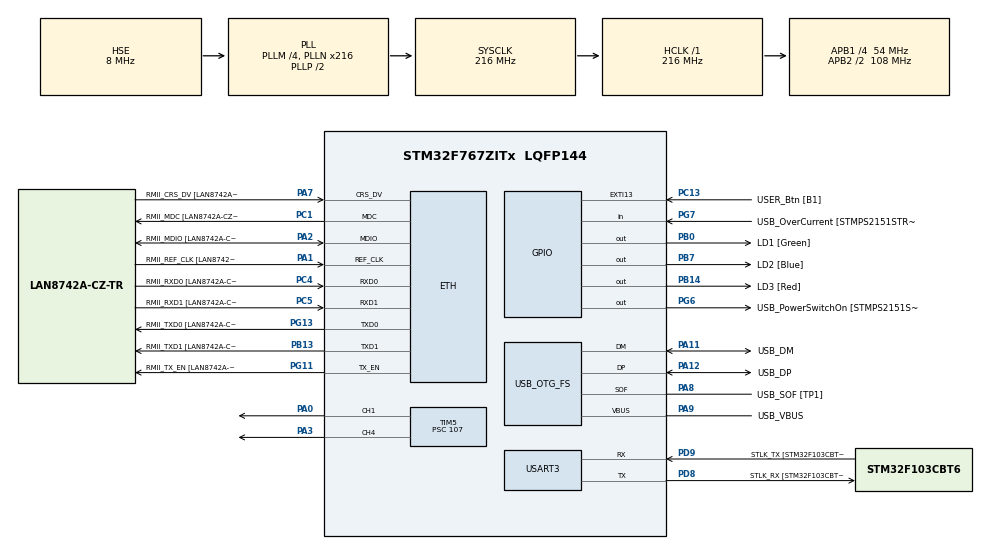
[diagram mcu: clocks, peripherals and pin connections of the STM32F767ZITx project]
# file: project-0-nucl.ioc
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ETH.MediaInterface=HAL_ETH_RMII_MODE
ETH.PHY_Name=LAN8742A_PHY_ADDRESS
ETH.PHY_Value=0
ETH.PhyAddress=0
Mcu.Family=STM32F7
Mcu.Name=STM32F767ZITx
Mcu.Package=LQFP144
NVIC.PriorityGroup=NVIC_PRIORITYGROUP_4
NVIC.USART3_IRQn=true\:0\:0\:false\:false\:true\:true\:true\:true
PA0/WKUP.Signal=S_TIM5_CH1
PA1.GPIO_Label=RMII_REF_CLK [LAN8742A-CZ-TR_REFCLK0]
PA1.Mode=RMII
PA1.Signal=ETH_REF_CLK
PA10.GPIO_Label=USB_ID
PA10.Signal=USB_OTG_FS_ID
PA11.GPIO_Label=USB_DM
PA11.Mode=Device_Only
PA11.Signal=USB_OTG_FS_DM
PA12.GPIO_Label=USB_DP
PA12.Mode=Device_Only
PA12.Signal=USB_OTG_FS_DP
PA13.GPIO_Label=TMS
PA13.Mode=Serial_Wire
PA13.Signal=SYS_JTMS-SWDIO
PA14.GPIO_Label=TCK
PA14.Mode=Serial_Wire
PA14.Signal=SYS_JTCK-SWCLK
PA2.GPIO_Label=RMII_MDIO [LAN8742A-CZ-TR_MDIO]
PA2.Mode=RMII
PA2.Signal=ETH_MDIO
PA3.Signal=S_TIM5_CH4
PA7.GPIO_Label=RMII_CRS_DV [LAN8742A-CZ-TR_CRS_DV]
PA7.Mode=RMII
PA7.Signal=ETH_CRS_DV
PA8.GPIO_Label=USB_SOF [TP1]
PA8.Mode=Activate_SOF_FS
PA8.Signal=USB_OTG_FS_SOF
PA9.GPIO_Label=USB_VBUS
PA9.Mode=Activate_VBUS
PA9.Signal=USB_OTG_FS_VBUS
PB0.GPIO_Label=LD1 [Green]
PB0.Signal=GPIO_Output
PB13.GPIO_Label=RMII_TXD1 [LAN8742A-CZ-TR_TXD1]
PB13.Mode=RMII
PB13.Signal=ETH_TXD1
PB14.GPIO_Label=LD3 [Red]
PB14.Signal=GPIO_Output
PB3.GPIO_Label=SWO
PB3.Signal=SYS_JTDO-SWO
PB7.GPIO_Label=LD2 [Blue]
PB7.Signal=GPIO_Output
PC1.GPIO_Label=RMII_MDC [LAN8742A-CZ-TR_MDC]
PC1.Mode=RMII
PC1.Signal=ETH_MDC
PC13.GPIO_Label=USER_Btn [B1]
PC13.Signal=GPXTI13
PC14/OSC32_IN.Mode=LSE-External-Oscillator
PC14/OSC32_IN.Signal=RCC_OSC32_IN
PC15/OSC32_OUT.Mode=LSE-External-Oscillator
PC15/OSC32_OUT.Signal=RCC_OSC32_OUT
PC4.GPIO_Label=RMII_RXD0 [LAN8742A-CZ-TR_RXD0]
PC4.Mode=RMII
PC4.Signal=ETH_RXD0
PC5.GPIO_Label=RMII_RXD1 [LAN8742A-CZ-TR_RXD1]
PC5.Mode=RMII
PC5.Signal=ETH_RXD1
PD12.Signal=S_TIM4_CH1
PD8.GPIO_Label=STLK_RX [STM32F103CBT6_PA3]
PD8.Mode=Asynchronous
PD8.Signal=USART3_TX
PD9.GPIO_Label=STLK_TX [STM32F103CBT6_PA2]
PD9.Mode=Asynchronous
PD9.Signal=USART3_RX
PG11.GPIO_Label=RMII_TX_EN [LAN8742A-CZ-TR_TXEN]
PG11.Mode=RMII
PG11.Signal=ETH_TX_EN
PG13.GPIO_Label=RMII_TXD0 [LAN8742A-CZ-TR_TXD0]
PG13.Mode=RMII
PG13.Signal=ETH_TXD0
PG6.GPIO_Label=USB_PowerSwitchOn [STMPS2151STR_EN]
PG6.Signal=GPIO_Output
PG7.GPIO_Label=USB_OverCurrent [STMPS2151STR_FAULT]
PG7.Signal=GPIO_Input
PH0/OSC_IN.GPIO_Label=MCO [STM32F103CBT6_PA8]
PH0/OSC_IN.Mode=HSE-External-Clock-Source
PH0/OSC_IN.Signal=RCC_OSC_IN
PH1/OSC_OUT.Mode=HSE-External-Clock-Source
PH1/OSC_OUT.Signal=RCC_OSC_OUT
ProjectManager.HeapSize=0x200
ProjectManager.StackSize=0x400
ProjectManager.TargetToolchain=STM32CubeIDE
RCC.48MHZClocksFreq_Value=24000000
RCC.AHBFreq_Value=216000000
RCC.APB1CLKDivider=RCC_HCLK_DIV4
RCC.APB1Freq_Value=54000000
RCC.APB1TimFreq_Value=108000000
RCC.APB2CLKDivider=RCC_HCLK_DIV2
RCC.APB2Freq_Value=108000000
RCC.APB2TimFreq_Value=216000000
RCC.CortexFreq_Value=216000000
RCC.HCLKFreq_Value=216000000
RCC.HSE_VALUE=8000000
RCC.HSI_VALUE=16000000
RCC.PLLM=4
RCC.PLLMUL=RCC_PLL_MUL9
RCC.PLLN=216
RCC.PLLQ=9
RCC.PRESCALERUSB=RCC_USBCLKSOURCE_PLL_DIV1_5
RCC.SYSCLKFreq_VALUE=216000000
RCC.SYSCLKSource=RCC_SYSCLKSOURCE_PLLCLK
RCC.SYSCLKSourceVirtual=RCC_SYSCLKSOURCE_PLLCLK
RCC.USBFreq_Value=48000000
RCC.VCOOutputFreq_Value=432000000
SH.S_TIM4_CH1.0=TIM4_CH1
SH.S_TIM5_CH1.0=TIM5_CH1,PWM Generation1 CH1
SH.S_TIM5_CH4.0=TIM5_CH4,PWM Generation4 CH4
TIM5.Channel-PWM\ Generation1\ CH1=TIM_CHANNEL_1
TIM5.Channel-PWM\ Generation4\ CH4=TIM_CHANNEL_4
TIM5.Period=19999
TIM5.Prescaler=107
TIM5.Pulse-PWM\ Generation1\ CH1=1500
TIM5.Pulse-PWM\ Generation4\ CH4=1500
USART3.VirtualMode-Asynchronous=VM_ASYNC
USB_OTG_FS.VirtualMode=Device_Only
VP_TIM5_VS_ClockSourceINT.Mode=Internal
board=NUCLEO-F767ZI

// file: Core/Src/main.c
/* USER CODE BEGIN Header */
/**
  ******************************************************************************
  * @file           : main.c
  * @brief          : Main program body
  ******************************************************************************
  * @attention
  *
  * This program is designed to receive individual servo commands over UART
  * in the format "s<ID><angle>\n", for example, "s090\n" or "s1125\n".
  * It maps the angle (0-180 degrees) to a PWM pulse width for servo control.
  *
  ******************************************************************************
  */
/* USER CODE END Header */
#include "main.h"
#include "string.h"

/* USER CODE BEGIN Includes */
#include <stdio.h>
#include <stdbool.h>
#include <stdlib.h> // <-- NEW: Include for atoi()
/* USER CODE END Includes */

/* USER CODE BEGIN PD */
#define SERVO_MAX_PULSE 2500
#define SERVO_MIN_PULSE 500
#define RX_BUFFER_SIZE 32 // Can be smaller for these short commands

// <-- NEW: Define Servo IDs for clarity
#define SERVO_PAN_ID 0
#define SERVO_TILT_ID 1

// <-- NEW: Define valid angle range from the Python script
#define ANGLE_MIN 0
#define ANGLE_MAX 180
/* USER CODE END PD */

#if defined ( __ICCARM__ ) /*!< IAR Compiler */
#pragma location=0x2007c000
ETH_DMADescTypeDef  DMARxDscrTab[ETH_RX_DESC_CNT]; /* Ethernet Rx DMA Descriptors */
#pragma location=0x2007c0a0
ETH_DMADescTypeDef  DMATxDscrTab[ETH_TX_DESC_CNT]; /* Ethernet Tx DMA Descriptors */

#elif defined ( __CC_ARM )  /* MDK ARM Compiler */

__attribute__((at(0x2007c000))) ETH_DMADescTypeDef  DMARxDscrTab[ETH_RX_DESC_CNT]; /* Ethernet Rx DMA Descriptors */
__attribute__((at(0x2007c0a0))) ETH_DMADescTypeDef  DMATxDscrTab[ETH_TX_DESC_CNT]; /* Ethernet Tx DMA Descriptors */

#elif defined ( __GNUC__ ) /* GNU Compiler */

ETH_DMADescTypeDef DMARxDscrTab[ETH_RX_DESC_CNT] __attribute__((section(".RxDecripSection"))); /* Ethernet Rx DMA Descriptors */
ETH_DMADescTypeDef DMATxDscrTab[ETH_TX_DESC_CNT] __attribute__((section(".TxDecripSection")));   /* Ethernet Tx DMA Descriptors */
#endif

ETH_TxPacketConfig TxConfig;
ETH_HandleTypeDef heth;
TIM_HandleTypeDef htim5;
UART_HandleTypeDef huart3;
PCD_HandleTypeDef hpcd_USB_OTG_FS;

/* USER CODE BEGIN PV */
uint8_t rx_buffer[RX_BUFFER_SIZE];
uint8_t rx_char[1];

volatile uint8_t rx_index = 0;
volatile bool command_ready = false;
/* USER CODE END PV */

void SystemClock_Config(void);
static void MX_GPIO_Init(void);
static void MX_ETH_Init(void);
static void MX_USART3_UART_Init(void);
static void MX_USB_OTG_FS_PCD_Init(void);
static void MX_TIM5_Init(void);

/* USER CODE BEGIN 0 */

// ====================================================================
// <-- CHANGED: This function now maps an angle (0-180) to a pulse width.
// ====================================================================
uint16_t map_angle_to_pulse(int angle) {
    // Ensure the angle is within the valid hardware range
    if (angle < ANGLE_MIN) angle = ANGLE_MIN;
    if (angle > ANGLE_MAX) angle = ANGLE_MAX;

    // Linearly map the angle (0-180) to the pulse width (e.g., 500-2500)
    return (uint16_t)(SERVO_MIN_PULSE + (double)angle / ANGLE_MAX * (SERVO_MAX_PULSE - SERVO_MIN_PULSE));
}

// ====================================================================
// <-- NEW: This is the new, robust parsing function for single servo commands.
// ====================================================================
bool parse_servo_command(const char *command, int *servo_id, int *angle) {
    // Expected format: "s<ID><ANGLE>", e.g., "s090" or "s1120"
    if (command[0] != 's' || strlen(command) < 3) {
        return false; // Not a valid servo command
    }

    // The servo ID is the single character right after 's'
    *servo_id = command[1] - '0'; // Convert char '0'/'1' to int 0/1

    // The angle is the rest of the string. atoi() handles conversion.
    // &command[2] creates a pointer to the start of the angle digits.
    *angle = atoi(&command[2]);

    // Validate the parsed servo ID
    if (*servo_id != SERVO_PAN_ID && *servo_id != SERVO_TILT_ID) {
        return false;
    }

    // Validate the parsed angle
    if (*angle < ANGLE_MIN || *angle > ANGLE_MAX) {
         return false;
    }

    return true; // Success!
}

// This interrupt handler is unchanged and works perfectly for assembling command strings.
void HAL_UART_RxCpltCallback(UART_HandleTypeDef *huart) {
	if (huart->Instance == USART3) {
		if (rx_char[0] == '\n') { // Only trigger on newline
			rx_buffer[rx_index] = '\0'; // Null-terminate the string
			command_ready = true;
			rx_index = 0;
		} else if (rx_index < RX_BUFFER_SIZE - 1 && rx_char[0] != '\r') {
			rx_buffer[rx_index++] = rx_char[0];
		}
		// Re-arm the interrupt
		HAL_UART_Receive_IT(&huart3, rx_char, 1);
	}
}
/* USER CODE END 0 */

int main(void)
{

  /* MCU Configuration--------------------------------------------------------*/
  HAL_Init();
  SystemClock_Config();

  /* Initialize all configured peripherals */
  MX_GPIO_Init();
  MX_ETH_Init();
  MX_USART3_UART_Init();
  MX_USB_OTG_FS_PCD_Init();
  MX_TIM5_Init();
  /* USER CODE BEGIN 2 */
  HAL_TIM_PWM_Start(&htim5, TIM_CHANNEL_1);
  HAL_TIM_PWM_Start(&htim5, TIM_CHANNEL_4);
  HAL_UART_Receive_IT(&huart3, rx_char, 1);

  // <-- CHANGED: Updated startup message for the new command format.
  char* startup_msg = "Servo Controller Ready. Format: s<ID><angle>\\n (e.g., s090\\n)\r\n";
  HAL_UART_Transmit(&huart3, (uint8_t*)startup_msg, strlen(startup_msg), HAL_MAX_DELAY);

  /* USER CODE END 2 */

  /* Infinite loop */
  while (1)
  {

    /* USER CODE BEGIN 3 */

    // ====================================================================
    // <-- CHANGED: The main loop logic is updated to use the new parser.
    // ====================================================================
	if (command_ready) {
		int servo_id, angle;

		if(parse_servo_command((const char*)rx_buffer, &servo_id, &angle)) {
		  // Command was valid
		  uint16_t pulse = map_angle_to_pulse(angle);

		  // IMPORTANT: Set the correct timer channel based on the servo ID.
		  // Assuming TIM_CH1 is TILT (ID 1) and TIM_CH4 is PAN (ID 0).
		  // Swap these if your axes are wired differently.
		  if (servo_id == SERVO_PAN_ID) {
			  __HAL_TIM_SET_COMPARE(&htim5, TIM_CHANNEL_4, pulse);
		  } else if (servo_id == SERVO_TILT_ID) {
			  __HAL_TIM_SET_COMPARE(&htim5, TIM_CHANNEL_1, pulse);
		  }

		  // Send a detailed confirmation message (very useful for debugging)
		  char ok_msg[64];
		  sprintf(ok_msg, "OK: Servo %d set to angle %d (pulse %u)\r\n", servo_id, angle, pulse);
          HAL_UART_Transmit(&huart3, (uint8_t*)ok_msg, strlen(ok_msg), 100);

		} else {
		  // Command was invalid. Send a specific error message.
		  char err_msg[64];
		  sprintf(err_msg, "Error: Invalid command '%s'\r\n", (const char*)rx_buffer);
		  HAL_UART_Transmit(&huart3, (uint8_t*)err_msg, strlen(err_msg), 100);
		}
		// Reset the flag to wait for the next command
		command_ready = false;
	}
  }
  /* USER CODE END 3 */
}

// ... The rest of your file (SystemClock_Config, peripheral initializations, etc.) is unchanged ...

// ... The rest of your file (SystemClock_Config, peripheral initializations, etc.) is unchanged ...
// ... and can remain exactly as it was.                                                ...

void SystemClock_Config(void)
{
  RCC_OscInitTypeDef RCC_OscInitStruct = {0};
  RCC_ClkInitTypeDef RCC_ClkInitStruct = {0};

  /** Configure LSE Drive Capability
  */
  HAL_PWR_EnableBkUpAccess();

  /** Configure the main internal regulator output voltage
  */
  __HAL_RCC_PWR_CLK_ENABLE();
  __HAL_PWR_VOLTAGESCALING_CONFIG(PWR_REGULATOR_VOLTAGE_SCALE1);

  /** Initializes the RCC Oscillators according to the specified parameters
  * in the RCC_OscInitTypeDef structure.
  */
  RCC_OscInitStruct.OscillatorType = RCC_OSCILLATORTYPE_HSE;
  RCC_OscInitStruct.HSEState = RCC_HSE_BYPASS;
  RCC_OscInitStruct.PLL.PLLState = RCC_PLL_ON;
  RCC_OscInitStruct.PLL.PLLSource = RCC_PLLSOURCE_HSE;
  RCC_OscInitStruct.PLL.PLLM = 4;
  RCC_OscInitStruct.PLL.PLLN = 216;
  RCC_OscInitStruct.PLL.PLLP = RCC_PLLP_DIV2;
  RCC_OscInitStruct.PLL.PLLQ = 9;
  RCC_OscInitStruct.PLL.PLLR = 2;
  if (HAL_RCC_OscConfig(&RCC_OscInitStruct) != HAL_OK)
  {
    Error_Handler();
  }

  /** Activate the Over-Drive mode
  */
  if (HAL_PWREx_EnableOverDrive() != HAL_OK)
  {
    Error_Handler();
  }

  /** Initializes the CPU, AHB and APB buses clocks
  */
  RCC_ClkInitStruct.ClockType = RCC_CLOCKTYPE_HCLK|RCC_CLOCKTYPE_SYSCLK
                              |RCC_CLOCKTYPE_PCLK1|RCC_CLOCKTYPE_PCLK2;
  RCC_ClkInitStruct.SYSCLKSource = RCC_SYSCLKSOURCE_PLLCLK;
  RCC_ClkInitStruct.AHBCLKDivider = RCC_SYSCLK_DIV1;
  RCC_ClkInitStruct.APB1CLKDivider = RCC_HCLK_DIV4;
  RCC_ClkInitStruct.APB2CLKDivider = RCC_HCLK_DIV2;

  if (HAL_RCC_ClockConfig(&RCC_ClkInitStruct, FLASH_LATENCY_7) != HAL_OK)
  {
    Error_Handler();
  }
}

static void MX_ETH_Init(void)
{

   static uint8_t MACAddr[6];

  heth.Instance = ETH;
  MACAddr[0] = 0x00;
  MACAddr[1] = 0x80;
  MACAddr[2] = 0xE1;
  MACAddr[3] = 0x00;
  MACAddr[4] = 0x00;
  MACAddr[5] = 0x00;
  heth.Init.MACAddr = &MACAddr[0];
  heth.Init.MediaInterface = HAL_ETH_RMII_MODE;
  heth.Init.TxDesc = DMATxDscrTab;
  heth.Init.RxDesc = DMARxDscrTab;
  heth.Init.RxBuffLen = 1524;

  if (HAL_ETH_Init(&heth) != HAL_OK)
  {
    Error_Handler();
  }

  memset(&TxConfig, 0 , sizeof(ETH_TxPacketConfig));
  TxConfig.Attributes = ETH_TX_PACKETS_FEATURES_CSUM | ETH_TX_PACKETS_FEATURES_CRCPAD;
  TxConfig.ChecksumCtrl = ETH_CHECKSUM_IPHDR_PAYLOAD_INSERT_PHDR_CALC;
  TxConfig.CRCPadCtrl = ETH_CRC_PAD_INSERT;

}

static void MX_TIM5_Init(void)
{

  TIM_ClockConfigTypeDef sClockSourceConfig = {0};
  TIM_MasterConfigTypeDef sMasterConfig = {0};
  TIM_OC_InitTypeDef sConfigOC = {0};

  htim5.Instance = TIM5;
  htim5.Init.Prescaler = 107;
  htim5.Init.CounterMode = TIM_COUNTERMODE_UP;
  htim5.Init.Period = 19999;
  htim5.Init.ClockDivision = TIM_CLOCKDIVISION_DIV1;
  htim5.Init.AutoReloadPreload = TIM_AUTORELOAD_PRELOAD_DISABLE;
  if (HAL_TIM_Base_Init(&htim5) != HAL_OK)
  {
    Error_Handler();
  }
  sClockSourceConfig.ClockSource = TIM_CLOCKSOURCE_INTERNAL;
  if (HAL_TIM_ConfigClockSource(&htim5, &sClockSourceConfig) != HAL_OK)
  {
    Error_Handler();
  }
  if (HAL_TIM_PWM_Init(&htim5) != HAL_OK)
  {
    Error_Handler();
  }
  sMasterConfig.MasterOutputTrigger = TIM_TRGO_RESET;
  sMasterConfig.MasterSlaveMode = TIM_MASTERSLAVEMODE_DISABLE;
  if (HAL_TIMEx_MasterConfigSynchronization(&htim5, &sMasterConfig) != HAL_OK)
  {
    Error_Handler();
  }
  sConfigOC.OCMode = TIM_OCMODE_PWM1;
  sConfigOC.Pulse = 1500;
  sConfigOC.OCPolarity = TIM_OCPOLARITY_HIGH;
  sConfigOC.OCFastMode = TIM_OCFAST_DISABLE;
  if (HAL_TIM_PWM_ConfigChannel(&htim5, &sConfigOC, TIM_CHANNEL_1) != HAL_OK)
  {
    Error_Handler();
  }
  if (HAL_TIM_PWM_ConfigChannel(&htim5, &sConfigOC, TIM_CHANNEL_4) != HAL_OK)
  {
    Error_Handler();
  }
  HAL_TIM_MspPostInit(&htim5);

}

static void MX_USART3_UART_Init(void)
{

  huart3.Instance = USART3;
  huart3.Init.BaudRate = 115200;
  huart3.Init.WordLength = UART_WORDLENGTH_8B;
  huart3.Init.StopBits = UART_STOPBITS_1;
  huart3.Init.Parity = UART_PARITY_NONE;
  huart3.Init.Mode = UART_MODE_TX_RX;
  huart3.Init.HwFlowCtl = UART_HWCONTROL_NONE;
  huart3.Init.OverSampling = UART_OVERSAMPLING_16;
  huart3.Init.OneBitSampling = UART_ONE_BIT_SAMPLE_DISABLE;
  huart3.AdvancedInit.AdvFeatureInit = UART_ADVFEATURE_NO_INIT;
  if (HAL_UART_Init(&huart3) != HAL_OK)
  {
    Error_Handler();
  }

}

static void MX_USB_OTG_FS_PCD_Init(void)
{

  hpcd_USB_OTG_FS.Instance = USB_OTG_FS;
  hpcd_USB_OTG_FS.Init.dev_endpoints = 6;
  hpcd_USB_OTG_FS.Init.speed = PCD_SPEED_FULL;
  hpcd_USB_OTG_FS.Init.dma_enable = DISABLE;
  hpcd_USB_OTG_FS.Init.phy_itface = PCD_PHY_EMBEDDED;
  hpcd_USB_OTG_FS.Init.Sof_enable = ENABLE;
  hpcd_USB_OTG_FS.Init.low_power_enable = DISABLE;
  hpcd_USB_OTG_FS.Init.lpm_enable = DISABLE;
  hpcd_USB_OTG_FS.Init.vbus_sensing_enable = ENABLE;
  hpcd_USB_OTG_FS.Init.use_dedicated_ep1 = DISABLE;
  if (HAL_PCD_Init(&hpcd_USB_OTG_FS) != HAL_OK)
  {
    Error_Handler();
  }

}

static void MX_GPIO_Init(void)
{
  GPIO_InitTypeDef GPIO_InitStruct = {0};

  /* GPIO Ports Clock Enable */
  __HAL_RCC_GPIOC_CLK_ENABLE();
  __HAL_RCC_GPIOH_CLK_ENABLE();
  __HAL_RCC_GPIOA_CLK_ENABLE();
  __HAL_RCC_GPIOB_CLK_ENABLE();
  __HAL_RCC_GPIOD_CLK_ENABLE();
  __HAL_RCC_GPIOG_CLK_ENABLE();

  /*Configure GPIO pin Output Level */
  HAL_GPIO_WritePin(GPIOB, LD1_Pin|LD3_Pin|LD2_Pin, GPIO_PIN_RESET);

  /*Configure GPIO pin Output Level */
  HAL_GPIO_WritePin(USB_PowerSwitchOn_GPIO_Port, USB_PowerSwitchOn_Pin, GPIO_PIN_RESET);

  /*Configure GPIO pin : USER_Btn_Pin */
  GPIO_InitStruct.Pin = USER_Btn_Pin;
  GPIO_InitStruct.Mode = GPIO_MODE_IT_RISING;
  GPIO_InitStruct.Pull = GPIO_NOPULL;
  HAL_GPIO_Init(USER_Btn_GPIO_Port, &GPIO_InitStruct);

  /*Configure GPIO pins : LD1_Pin LD3_Pin LD2_Pin */
  GPIO_InitStruct.Pin = LD1_Pin|LD3_Pin|LD2_Pin;
  GPIO_InitStruct.Mode = GPIO_MODE_OUTPUT_PP;
  GPIO_InitStruct.Pull = GPIO_NOPULL;
  GPIO_InitStruct.Speed = GPIO_SPEED_FREQ_LOW;
  HAL_GPIO_Init(GPIOB, &GPIO_InitStruct);

  /*Configure GPIO pin : PD12 */
  GPIO_InitStruct.Pin = GPIO_PIN_12;
  GPIO_InitStruct.Mode = GPIO_MODE_AF_PP;
  GPIO_InitStruct.Pull = GPIO_NOPULL;
  GPIO_InitStruct.Speed = GPIO_SPEED_FREQ_LOW;
  GPIO_InitStruct.Alternate = GPIO_AF2_TIM4;
  HAL_GPIO_Init(GPIOD, &GPIO_InitStruct);

  /*Configure GPIO pin : USB_PowerSwitchOn_Pin */
  GPIO_InitStruct.Pin = USB_PowerSwitchOn_Pin;
  GPIO_InitStruct.Mode = GPIO_MODE_OUTPUT_PP;
  GPIO_InitStruct.Pull = GPIO_NOPULL;
  GPIO_InitStruct.Speed = GPIO_SPEED_FREQ_LOW;
  HAL_GPIO_Init(USB_PowerSwitchOn_GPIO_Port, &GPIO_InitStruct);

  /*Configure GPIO pin : USB_OverCurrent_Pin */
  GPIO_InitStruct.Pin = USB_OverCurrent_Pin;
  GPIO_InitStruct.Mode = GPIO_MODE_INPUT;
  GPIO_InitStruct.Pull = GPIO_NOPULL;
  HAL_GPIO_Init(USB_OverCurrent_GPIO_Port, &GPIO_InitStruct);

}

void Error_Handler(void)
{
  __disable_irq();
  while (1)
  {
  }
}
